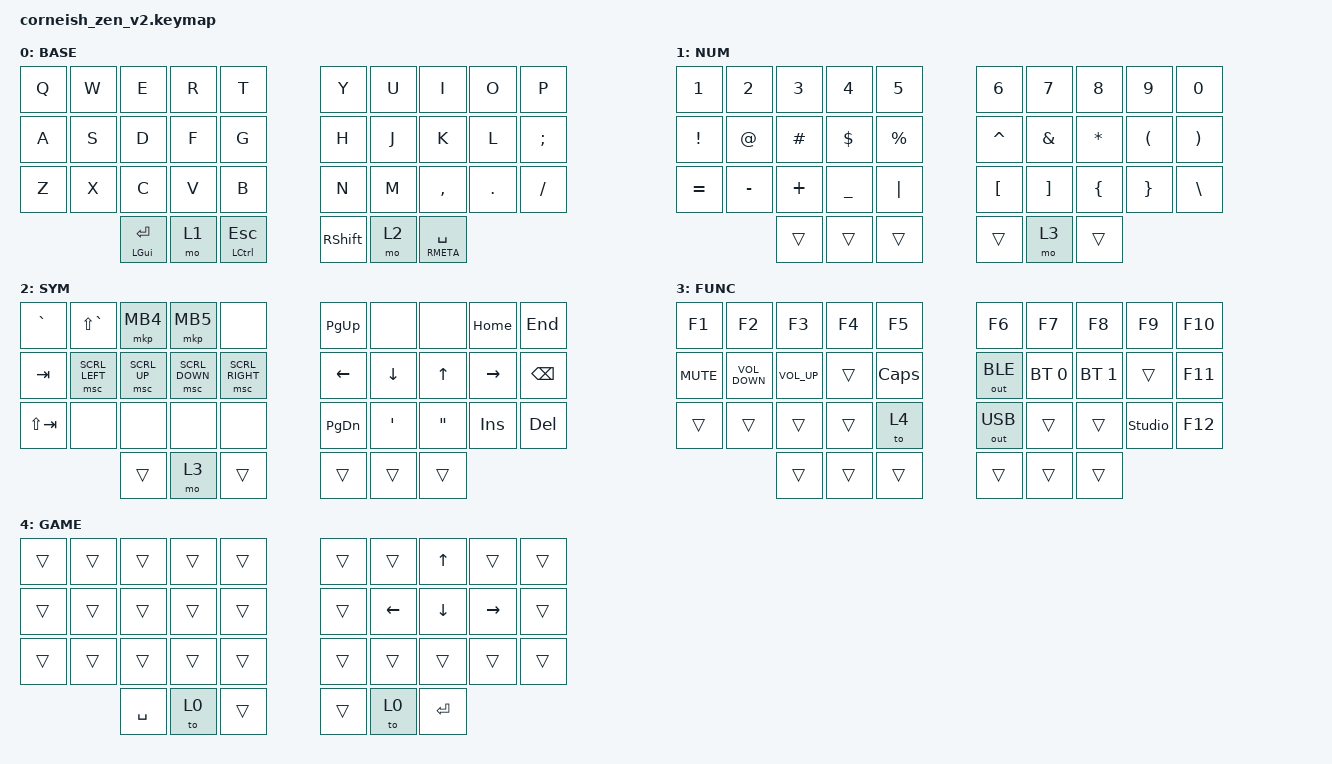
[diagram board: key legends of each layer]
/*
*
* Copyright (c) 2021 Darryl deHaan
* SPDX-License-Identifier: MIT
*
*/

#include <behaviors.dtsi>
#include <behaviors/mouse_keys.dtsi>
#include <dt-bindings/zmk/bt.h>
#include <dt-bindings/zmk/keys.h>
#include <dt-bindings/zmk/mouse.h>
#include <dt-bindings/zmk/outputs.h>

/ {
    behaviors {
        tog: toggle_layer {
            compatible = "zmk,behavior-layer-toggle";
            #binding-cells = <1>;
            display-name = "Toggle Layer";
        };
    };

    combos {
        compatible = "zmk,combos";

        xc_alt {
            bindings = <&kp LEFT_ALT>;
            key-positions = <21 22>;
        };

        comdot_alt {
            bindings = <&kp LEFT_ALT>;
            key-positions = <28 27>;
        };

        zx_shift {
            bindings = <&kp LEFT_SHIFT>;
            key-positions = <20 21>;
        };

        dotslash_shift {
            bindings = <&kp RSHIFT>;
            key-positions = <28 29>;
        };

        fg_ctrl {
            bindings = <&kp LCTRL>;
            key-positions = <13 14>;
        };

        hj_ctrl {
            bindings = <&kp RCTRL>;
            key-positions = <15 16>;
        };
    };

    keymap {
        compatible = "zmk,keymap";

        base {
            display-name = "BASE";
            bindings = <
  &kp Q  &kp W  &kp E           &kp R  &kp T            &kp Y       &kp U  &kp I            &kp O    &kp P
  &kp A  &kp S  &kp D           &kp F  &kp G            &kp H       &kp J  &kp K            &kp L    &kp SEMI
  &kp Z  &kp X  &kp C           &kp V  &kp B            &kp N       &kp M  &kp COMMA        &kp DOT  &kp FSLH
                &mt LGUI ENTER  &mo 1  &mt LCTRL ESC    &kp RSHIFT  &mo 2  &mt RMETA SPACE
            >;
        };

        lower {
            display-name = "NUM";
            bindings = <
  &kp N1        &kp N2        &kp N3        &kp N4        &kp N5          &kp N6            &kp N7             &kp N8        &kp N9                &kp N0
  &kp EXCL      &kp AT        &kp POUND     &kp DOLLAR    &kp PERCENT     &kp CARET         &kp AMPERSAND      &kp STAR      &kp LEFT_PARENTHESIS  &kp RIGHT_PARENTHESIS
  &kp EQUAL     &kp MINUS     &kp PLUS      &kp UNDER     &kp PIPE        &kp LEFT_BRACKET  &kp RIGHT_BRACKET  &kp LBRC      &kp RBRC              &kp BACKSLASH
                              &trans        &trans        &trans          &trans            &mo 3              &trans
            >;
        };

        raise {
            display-name = "SYM";
            bindings = <
  &kp GRAVE    &kp LS(GRAVE)   &mkp MB4      &mkp MB5        &none            &kp PG_UP  &none     &none              &kp HOME   &kp END
  &kp TAB      &msc SCRL_LEFT  &msc SCRL_UP  &msc SCRL_DOWN  &msc SCRL_RIGHT  &kp LEFT   &kp DOWN  &kp UP             &kp RIGHT  &kp BACKSPACE
  &kp LS(TAB)  &none           &none         &none           &none            &kp PG_DN  &kp APOS  &kp DOUBLE_QUOTES  &kp INS    &kp DEL
                               &trans        &mo 3           &trans           &trans     &trans    &trans
            >;
        };

        middle {
            display-name = "FUNC";
            bindings = <
  &kp F1      &kp F2             &kp F3        &kp F4  &kp F5      &kp F6        &kp F7        &kp F8        &kp F9          &kp F10
  &kp K_MUTE  &kp C_VOLUME_DOWN  &kp C_VOL_UP  &trans  &kp CAPS    &out OUT_BLE  &bt BT_SEL 0  &bt BT_SEL 1  &trans          &kp F11
  &trans      &trans             &trans        &trans  &to 4       &out OUT_USB  &trans        &trans        &studio_unlock  &kp F12
                                 &trans        &trans  &trans      &trans        &trans        &trans
            >;
        };

        gaming {
            display-name = "GAME";
            bindings = <
  &trans  &trans  &trans     &trans  &trans    &trans  &trans    &kp UP     &trans     &trans
  &trans  &trans  &trans     &trans  &trans    &trans  &kp LEFT  &kp DOWN   &kp RIGHT  &trans
  &trans  &trans  &trans     &trans  &trans    &trans  &trans    &trans     &trans     &trans
                  &kp SPACE  &to 0   &trans    &trans  &to 0     &kp ENTER
            >;
        };
    };
};
